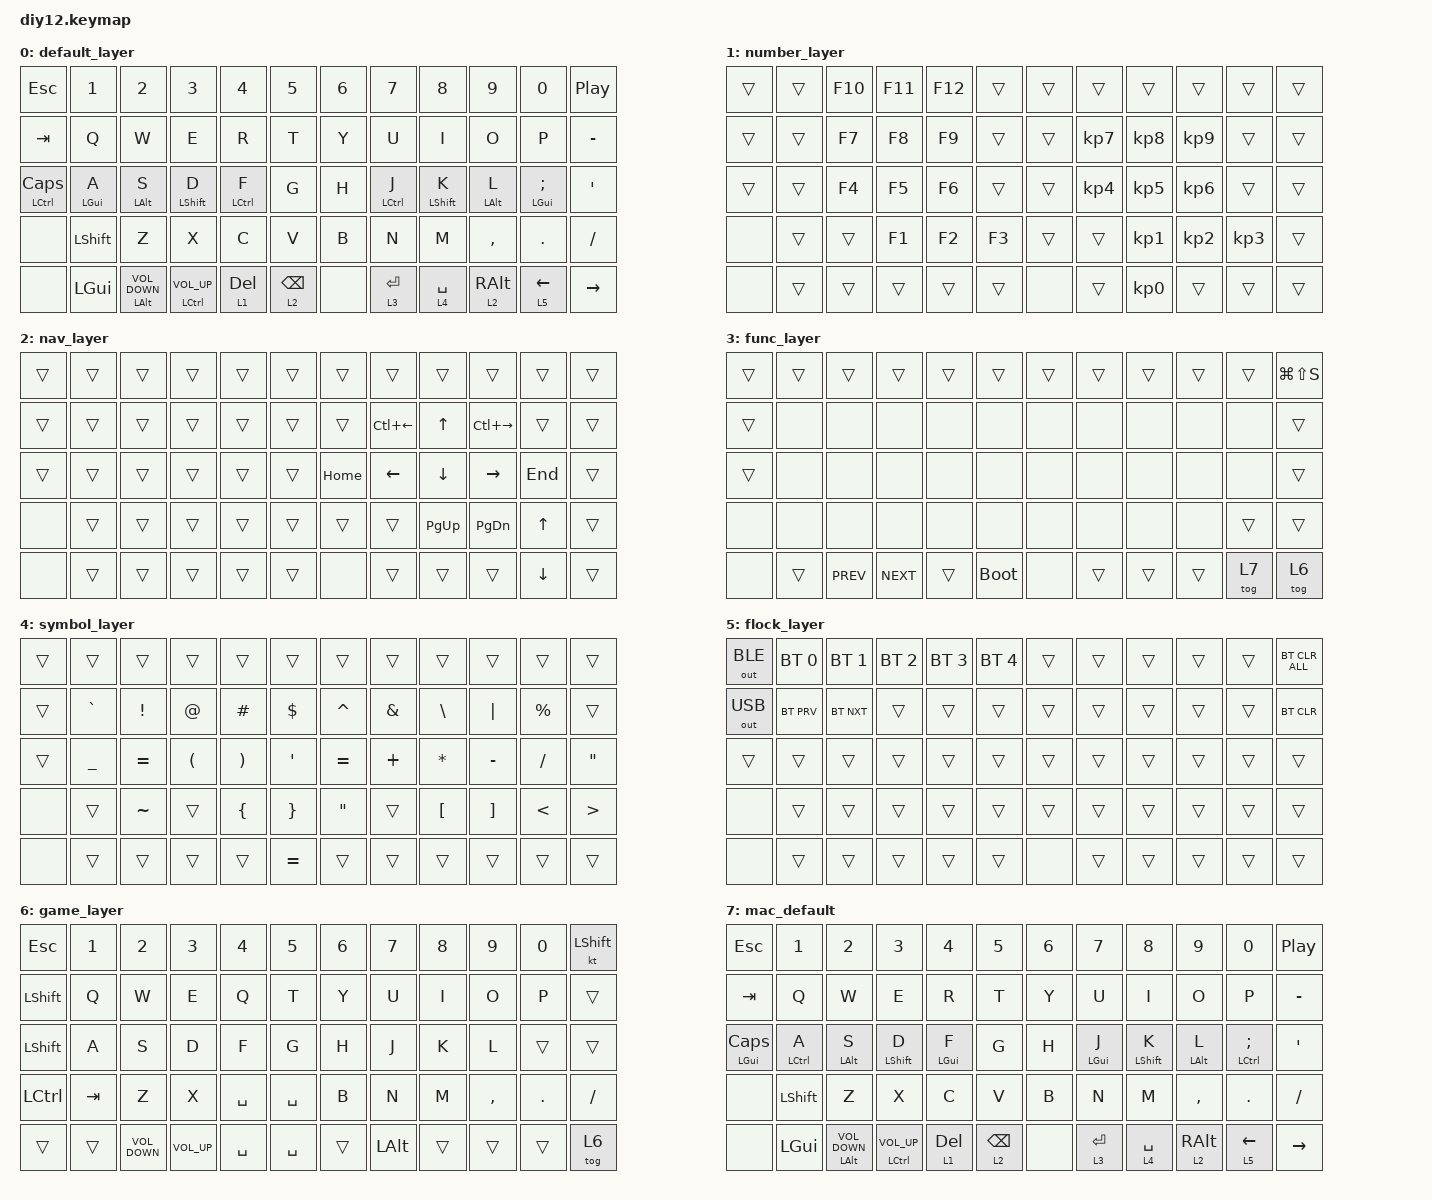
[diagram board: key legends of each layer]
#include <behaviors.dtsi>
#include <dt-bindings/zmk/bt.h>
#include <dt-bindings/zmk/keys.h>
#include <dt-bindings/zmk/keys.h>
#include <dt-bindings/zmk/outputs.h>

#define QUICK_TAP_MS 175

&lt {
    flavor = "balanced";
    tapping-term-ms = <200>;
    quick-tap-ms = <QUICK_TAP_MS>;
};

/ {
    behaviors {
        hm: home_row {
            compatible = "zmk,behavior-hold-tap";
            label = "HOME_ROW";
            bindings = <&kp>, <&kp>;

            #binding-cells = <2>;
            tapping-term-ms = <200>;
            quick-tap-ms = <QUICK_TAP_MS>;
            require-prior-idle-ms = <150>;
            flavor = "balanced";
            hold-trigger-key-positions = <27 28 31 32 26 25 33 34>;
            hold-trigger-on-release;
        };
    };

    combos {
        compatible = "zmk,combos";

        lang_change {
            bindings = <&kp RIGHT_ALT>;
            key-positions = <55 56>;
        };
    };

    keymap {
        compatible = "zmk,keymap";

        default_layer {
            bindings = <
&kp ESC         &kp N1          &kp N2                      &kp N3                 &kp N4       &kp N5      &kp N6  &kp N7       &kp N8            &kp N9           &kp N0                  &kp C_PLAY_PAUSE
&kp TAB         &kp Q           &kp W                       &kp E                  &kp R        &kp T       &kp Y   &kp U        &kp I             &kp O            &kp P                   &kp MINUS
&mt LCTRL CAPS  &hm LEFT_GUI A  &hm LEFT_ALT S              &hm LEFT_SHIFT D       &hm LCTRL F  &kp G       &kp H   &hm LCTRL J  &hm LEFT_SHIFT K  &hm LEFT_ALT L   &hm LEFT_GUI SEMICOLON  &kp SQT
&none           &kp LSHFT       &kp Z                       &kp X                  &kp C        &kp V       &kp B   &kp N        &kp M             &kp COMMA        &kp DOT                 &kp FSLH
&none           &kp LEFT_GUI    &mt LEFT_ALT C_VOLUME_DOWN  &mt LCTRL C_VOLUME_UP  &lt 1 DEL    &lt 2 BSPC  &none   &lt 3 ENTER  &lt 4 SPACE       &lt 2 RIGHT_ALT  &lt 5 LEFT              &kp RIGHT
            >;
        };

        number_layer {
            bindings = <
&trans  &trans  &kp F10  &kp F11  &kp F12  &trans  &trans  &trans           &trans           &trans           &trans           &trans
&trans  &trans  &kp F7   &kp F8   &kp F9   &trans  &trans  &kp KP_NUMBER_7  &kp KP_NUMBER_8  &kp KP_NUMBER_9  &trans           &trans
&trans  &trans  &kp F4   &kp F5   &kp F6   &trans  &trans  &kp KP_NUMBER_4  &kp KP_NUMBER_5  &kp KP_NUMBER_6  &trans           &trans
&none   &trans  &trans   &kp F1   &kp F2   &kp F3  &trans  &trans           &kp KP_NUMBER_1  &kp KP_NUMBER_2  &kp KP_NUMBER_3  &trans
&none   &trans  &trans   &trans   &trans   &trans  &none   &trans           &kp KP_NUMBER_0  &trans           &trans           &trans
            >;
        };

        nav_layer {
            bindings = <
&trans  &trans  &trans  &trans  &trans  &trans  &trans    &trans        &trans        &trans         &trans    &trans
&trans  &trans  &trans  &trans  &trans  &trans  &trans    &kp LC(LEFT)  &kp UP_ARROW  &kp LC(RIGHT)  &trans    &trans
&trans  &trans  &trans  &trans  &trans  &trans  &kp HOME  &kp LEFT      &kp DOWN      &kp RIGHT      &kp END   &trans
&none   &trans  &trans  &trans  &trans  &trans  &trans    &trans        &kp PG_UP     &kp PAGE_DOWN  &kp UP    &trans
&none   &trans  &trans  &trans  &trans  &trans  &none     &trans        &trans        &trans         &kp DOWN  &trans
            >;
        };

        func_layer {
            bindings = <
&trans  &trans  &trans      &trans      &trans  &trans       &trans  &trans  &trans  &trans  &trans  &kp LG(LS(S))
&trans  &none   &none       &none       &none   &none        &none   &none   &none   &none   &none   &trans
&trans  &none   &none       &none       &none   &none        &none   &none   &none   &none   &none   &trans
&none   &none   &none       &none       &none   &none        &none   &none   &none   &none   &trans  &trans
&none   &trans  &kp C_PREV  &kp C_NEXT  &trans  &bootloader  &none   &trans  &trans  &trans  &tog 7  &tog 6
            >;
        };

        symbol_layer {
            bindings = <
&trans  &trans     &trans     &trans    &trans    &trans     &trans     &trans    &trans     &trans     &trans     &trans
&trans  &kp GRAVE  &kp EXCL   &kp AT    &kp HASH  &kp DLLR   &kp CARET  &kp AMPS  &kp BSLH   &kp PIPE   &kp PRCNT  &trans
&trans  &kp UNDER  &kp EQUAL  &kp LPAR  &kp RPAR  &kp APOS   &kp EQUAL  &kp PLUS  &kp ASTRK  &kp MINUS  &kp SLASH  &kp DQT
&none   &trans     &kp TILDE  &trans    &kp LBRC  &kp RBRC   &kp DQT    &trans    &kp LBKT   &kp RBKT   &kp LT     &kp GT
&none   &trans     &trans     &trans    &trans    &kp EQUAL  &trans     &trans    &trans     &trans     &trans     &trans
            >;
        };

        flock_layer {
            bindings = <
&out OUT_BLE  &bt BT_SEL 0  &bt BT_SEL 1  &bt BT_SEL 2  &bt BT_SEL 3  &bt BT_SEL 4  &trans  &trans  &trans  &trans  &trans  &bt BT_CLR_ALL
&out OUT_USB  &bt BT_PRV    &bt BT_NXT    &trans        &trans        &trans        &trans  &trans  &trans  &trans  &trans  &bt BT_CLR
&trans        &trans        &trans        &trans        &trans        &trans        &trans  &trans  &trans  &trans  &trans  &trans
&none         &trans        &trans        &trans        &trans        &trans        &trans  &trans  &trans  &trans  &trans  &trans
&none         &trans        &trans        &trans        &trans        &trans        &none   &trans  &trans  &trans  &trans  &trans
            >;
        };

        game_layer {
            bindings = <
&kp ESC         &kp N1   &kp N2             &kp N3           &kp N4     &kp N5     &kp N6  &kp N7        &kp N8  &kp N9     &kp N0   &kt LEFT_SHIFT
&kp LEFT_SHIFT  &kp Q    &kp W              &kp E            &kp Q      &kp T      &kp Y   &kp U         &kp I   &kp O      &kp P    &trans
&kp LEFT_SHIFT  &kp A    &kp S              &kp D            &kp F      &kp G      &kp H   &kp J         &kp K   &kp L      &trans   &trans
&kp LCTRL       &kp TAB  &kp Z              &kp X            &kp SPACE  &kp SPACE  &kp B   &kp N         &kp M   &kp COMMA  &kp DOT  &kp FSLH
&trans          &trans   &kp C_VOLUME_DOWN  &kp C_VOLUME_UP  &kp SPACE  &kp SPACE  &trans  &kp LEFT_ALT  &trans  &trans     &trans   &tog 6
            >;
        };

        mac_default {
            bindings = <
&kp ESC        &kp N1        &kp N2                      &kp N3                 &kp N4      &kp N5      &kp N6  &kp N7          &kp N8            &kp N9           &kp N0               &kp C_PLAY_PAUSE
&kp TAB        &kp Q         &kp W                       &kp E                  &kp R       &kp T       &kp Y   &kp U           &kp I             &kp O            &kp P                &kp MINUS
&mt LGUI CAPS  &hm LCTRL A   &hm LEFT_ALT S              &hm LEFT_SHIFT D       &hm LGUI F  &kp G       &kp H   &hm LEFT_GUI J  &hm LEFT_SHIFT K  &hm LEFT_ALT L   &hm LCTRL SEMICOLON  &kp SQT
&none          &kp LSHFT     &kp Z                       &kp X                  &kp C       &kp V       &kp B   &kp N           &kp M             &kp COMMA        &kp DOT              &kp FSLH
&none          &kp LEFT_GUI  &mt LEFT_ALT C_VOLUME_DOWN  &mt LCTRL C_VOLUME_UP  &lt 1 DEL   &lt 2 BSPC  &none   &lt 3 ENTER     &lt 4 SPACE       &lt 2 RIGHT_ALT  &lt 5 LEFT           &kp RIGHT
            >;
        };
    };
};
